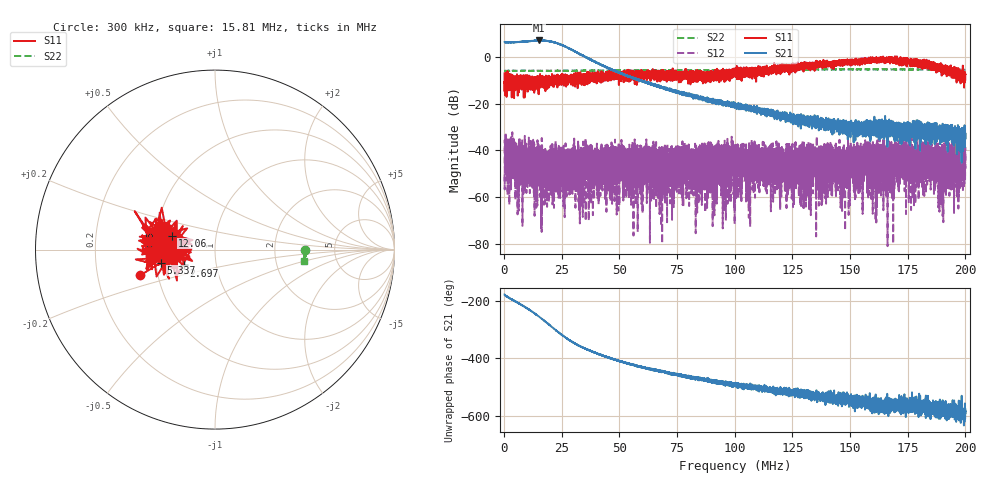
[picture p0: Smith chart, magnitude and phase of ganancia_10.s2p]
# Hz S DB R 50
! CMT, M5065, 19127446, 24.2.4/2
! Date: 10/29/2024 1:07:13 PM
! Data: Format (Calibration Info)
! Freq	S11:dB/Ang(F2)	S21:dB/Ang(F2)	S12:dB/Ang(F2)	S22:dB/Ang(F2)
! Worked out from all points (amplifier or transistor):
!   9000 points, 300 kHz to 200 MHz, reference 50 ohm
!   highest |S21| = 7.0 dB at 15.06 MHz (marker M1)
!   |S21| within 3 dB of that: start of sweep to 27.4 MHz
!   unconditionally stable (mu >= 1): start of sweep to 164.3 MHz; 164.3 MHz to 169.5 MHz; 170.4 MHz to end of sweep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
!   at 33.59 MHz: K = 432.62, MAG = 2.8 dB, |S12| = -63.6 dB
!   at 100.2 MHz: K = 866.26, MAG = -18.6 dB, |S12| = -48.6 dB
!   at 200 MHz: K = 1306.78, MAG = -32.1 dB, |S12| = -38.5 dB
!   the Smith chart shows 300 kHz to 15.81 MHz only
!   S11 on the Smith chart (normalised r, x): 300 kHz: 0.40, -0.14; 2.697 MHz: 0.69, -0.13; 5.337 MHz: 0.53, -0.09; 12.06 MHz: 0.61, +0.10; 15.81 MHz: 0.46, +0.05
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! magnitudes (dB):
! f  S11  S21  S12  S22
! 300 kHz  -7.1  6.3  -50.1  -6.0
! 1.321 MHz  -11.0  6.2  -44.5  -6.0
! 2.697 MHz  -14.1  6.2  -37.6  -6.0
! 5.337 MHz  -10.2  6.3  -42.2  -6.0
! 12.06 MHz  -12.0  6.7  -45.4  -6.0
! 15.06 MHz  -16.0  7.0  -43.8  -6.0
! 15.81 MHz  -8.7  6.9  -45.0  -6.0
! 33.59 MHz  -8.1  0.8  -63.6  -5.9
! 47.32 MHz  -8.5  -5.6  -49.6  -5.8
! 59.77 MHz  -9.3  -10.3  -50.4  -5.8
! 62.04 MHz  -6.1  -11.0  -48.1  -5.7
! 66.87 MHz  -9.1  -12.6  -48.1  -5.8
! 74.84 MHz  -7.0  -14.9  -40.5  -5.8
! 100.2 MHz  -6.6  -21.0  -48.6  -5.7
! 116.4 MHz  -5.3  -25.3  -41.9  -5.6
! 125.7 MHz  -3.2  -26.9  -63.7  -5.5
! 133.4 MHz  -4.1  -28.7  -47.0  -5.4
! 166.7 MHz  -1.4  -29.8  -45.9  -5.4
! 183.4 MHz  -2.8  -33.9  -48.1  -5.5
! 191.4 MHz  -5.8  -31.7  -47.3  -5.5
! 198.9 MHz  -8.5  -40.4  -45.2  -5.5
! 200 MHz  -7.6  -34.3  -38.5  -5.6
